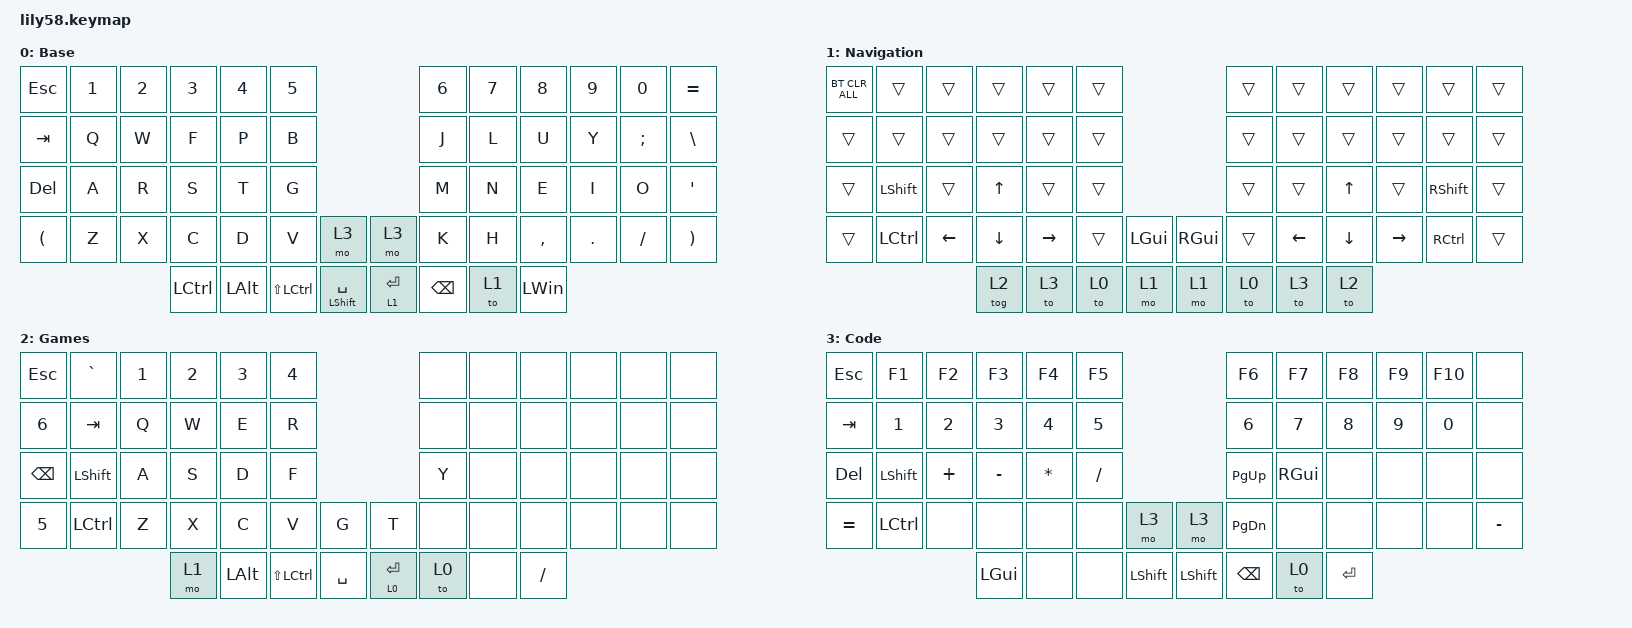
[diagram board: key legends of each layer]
/*
 * Copyright (c) 2020 The ZMK Contributors
 *
 * SPDX-License-Identifier: MIT
 */

#include <behaviors.dtsi>
#include <dt-bindings/zmk/bt.h>
#include <dt-bindings/zmk/keys.h>

/ {
    combos {
        compatible = "zmk,combos";

        LBracket {
            bindings = <&kp LEFT_BRACE>;
            key-positions = <56 36>;
        };

        RBracket {
            bindings = <&kp RIGHT_BRACE>;
            key-positions = <56 49>;
        };

        ArrowUp {
            bindings = <&kp UP_ARROW>;
            key-positions = <56 20>;
        };

        ArrowLeft {
            bindings = <&kp LEFT>;
            key-positions = <56 31>;
        };

        RightArrow {
            bindings = <&kp RIGHT>;
            key-positions = <56 33>;
        };

        DownArrow {
            bindings = <&kp DOWN>;
            key-positions = <56 32>;
        };
    };

    keymap {
        compatible = "zmk,keymap";

        base {
            bindings = <
&kp ESCAPE            &kp NUMBER_1  &kp NUMBER_2  &kp NUMBER_3      &kp NUMBER_4  &kp N5                                                     &kp NUMBER_6   &kp N7  &kp N8        &kp N9      &kp N0         &kp EQUAL
&kp TAB               &kp Q         &kp W         &kp F             &kp P         &kp B                                                      &kp J          &kp L   &kp U         &kp Y       &kp SEMICOLON  &kp BACKSLASH
&kp DELETE            &kp A         &kp R         &kp S             &kp T         &kp G                                                      &kp M          &kp N   &kp E         &kp I       &kp O          &kp SINGLE_QUOTE
&kp LEFT_PARENTHESIS  &kp Z         &kp X         &kp C             &kp D         &kp V                 &mo 3                   &mo 3        &kp K          &kp H   &kp COMMA     &kp PERIOD  &kp SLASH      &kp RIGHT_PARENTHESIS
                                                  &kp LEFT_CONTROL  &kp LEFT_ALT  &kp LS(LEFT_CONTROL)  &mt LEFT_SHIFT SPACE    &lt 1 ENTER  &kp BACKSPACE  &to 1   &kp LEFT_WIN
            >;

            label = "Base";
        };

        Navigation {
            bindings = <
&bt BT_CLR_ALL  &trans            &trans          &trans          &trans     &trans                                 &trans  &trans    &trans          &trans           &trans             &trans
&trans          &trans            &trans          &trans          &trans     &trans                                 &trans  &trans    &trans          &trans           &trans             &trans
&trans          &kp LEFT_SHIFT    &trans          &kp UP_ARROW    &trans     &trans                                 &trans  &trans    &kp UP_ARROW    &trans           &kp RIGHT_SHIFT    &trans
&trans          &kp LEFT_CONTROL  &kp LEFT_ARROW  &kp DOWN_ARROW  &kp RIGHT  &trans  &kp LEFT_GUI    &kp RIGHT_GUI  &trans  &kp LEFT  &kp DOWN_ARROW  &kp RIGHT_ARROW  &kp RIGHT_CONTROL  &trans
                                                  &tog 2          &to 3      &to 0   &mo 1           &mo 1          &to 0   &to 3     &to 2
            >;

            label = "Navigation";
        };

        Gaming {
            bindings = <
&kp ESCAPE     &kp GRAVE       &kp NUMBER_1  &kp NUMBER_2  &kp NUMBER_3  &kp NUMBER_4                             &none  &none  &none      &none  &none  &none
&kp NUMBER_6   &kp TAB         &kp Q         &kp W         &kp E         &kp R                                    &none  &none  &none      &none  &none  &none
&kp BACKSPACE  &kp LEFT_SHIFT  &kp A         &kp S         &kp D         &kp F                                    &kp Y  &none  &none      &none  &none  &none
&kp N5         &kp LCTRL       &kp Z         &kp X         &kp C         &kp V          &kp G        &kp T        &none  &none  &none      &none  &none  &none
                                             &mo 1         &kp LEFT_ALT  &kp LS(LCTRL)  &kp SPACE    &lt 0 ENTER  &to 0  &none  &kp SLASH
            >;

            label = "Games";
        };

        Coding {
            bindings = <
&kp ESCAPE  &kp F1            &kp F2        &kp F3        &kp F4        &kp F5                                       &kp F6         &kp F7         &kp F8     &kp F9  &kp F10  &none
&kp TAB     &kp NUMBER_1      &kp NUMBER_2  &kp NUMBER_3  &kp NUMBER_4  &kp N5                                       &kp NUMBER_6   &kp N7         &kp N8     &kp N9  &kp N0   &none
&kp DELETE  &kp LEFT_SHIFT    &kp PLUS      &kp MINUS     &kp ASTERISK  &kp SLASH                                    &kp PAGE_UP    &kp RIGHT_GUI  &none      &none   &none    &none
&kp EQUAL   &kp LEFT_CONTROL  &none         &none         &none         &none      &mo 3             &mo 3           &kp PAGE_DOWN  &none          &none      &none   &none    &kp MINUS
                                            &kp LEFT_GUI  &none         &none      &kp LEFT_SHIFT    &kp LEFT_SHIFT  &kp BACKSPACE  &to 0          &kp ENTER
            >;

            label = "Code";
        };
    };
};
